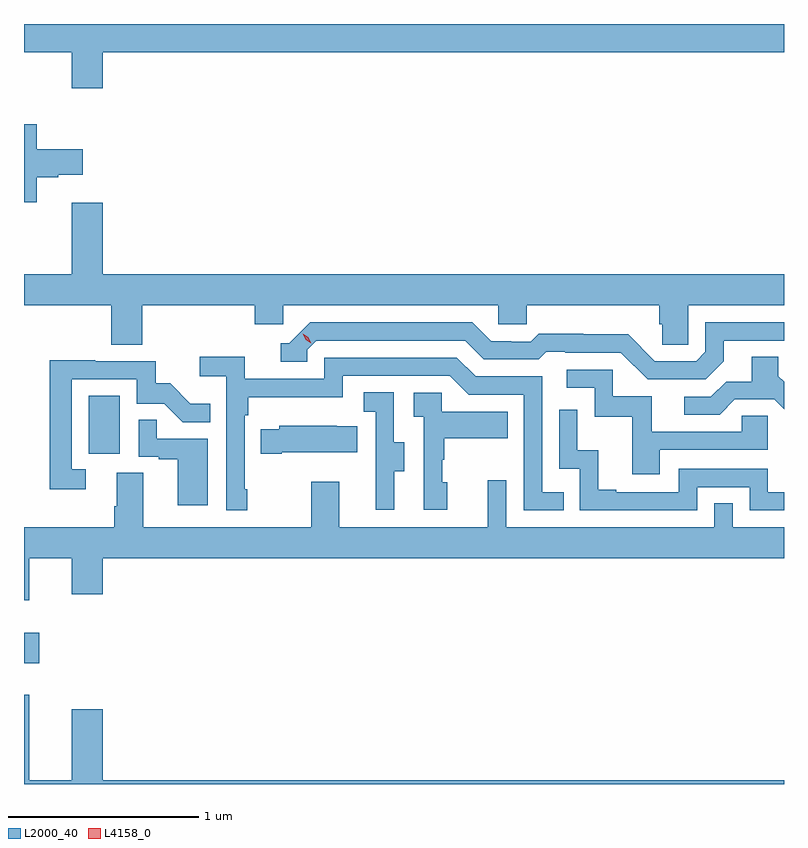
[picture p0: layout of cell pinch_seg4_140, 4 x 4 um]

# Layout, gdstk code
import gdstk
lib = gdstk.Library(unit=1e-6, precision=1e-09)
def R(c, l, rs):  # rectangles x0, y0, x1, y1
    for r in rs: c.add(gdstk.rectangle(r[:2], r[2:], *l))
def P(c, l, *ps):  # polygons
    for p in ps: c.add(gdstk.Polygon(p, *l))
L2000_40 = (2000, 40)
L4158_0 = (4158, 0)

pinch_seg4_140 = lib.new_cell('pinch_seg4_140')
R(pinch_seg4_140, L2000_40, [(1123.797,805.592,1123.876,805.753), (1124.138,806.694,1124.302,807.001)])
P(pinch_seg4_140, L2000_40, [(1124.212,808.808),(1127.797,808.808),(1127.797,808.957),(1123.797,808.957),(1123.797,808.808),(1124.048,808.808),(1124.048,808.62),(1124.212,808.62)],
  [(1123.864,808.151),(1123.977,808.151),(1123.977,808.163),(1124.107,808.163),(1124.107,808.298),(1123.864,808.298),(1123.864,808.429),(1123.797,808.429),(1123.797,808.019),(1123.864,808.019)],
  [(1124.42,807.476),(1125.011,807.476),(1125.011,807.378),(1125.162,807.378),(1125.162,807.476),(1126.293,807.476),(1126.293,807.378),(1126.443,807.378),(1126.443,807.476),(1127.141,807.476),(1127.141,807.378),(1127.155,807.378),(1127.155,807.268),(1127.292,807.268),(1127.292,807.476),(1127.797,807.476),(1127.797,807.64),(1124.212,807.64),(1124.212,808.015),(1124.048,808.015),(1124.048,807.64),(1123.797,807.64),(1123.797,807.476),(1124.255,807.476),(1124.255,807.268),(1124.42,807.268)],
  [(1127.479,807.181),(1127.479,807.291),(1127.797,807.291),(1127.797,807.387),(1127.382,807.387),(1127.382,807.231),(1127.334,807.183),(1127.118,807.183),(1126.976,807.325),(1126.74,807.325),(1126.74,807.328),(1126.507,807.328),(1126.465,807.285),(1126.362,807.285),(1126.362,807.288),(1126.255,807.288),(1126.156,807.387),(1125.303,807.387),(1125.192,807.276),(1125.149,807.276),(1125.149,807.18),(1125.288,807.18),(1125.288,807.243),(1125.336,807.291),(1126.119,807.291),(1126.218,807.192),(1126.507,807.192),(1126.546,807.231),(1126.645,807.231),(1126.645,807.228),(1126.938,807.228),(1127.079,807.087),(1127.385,807.087)],
  [(1124.971,806.509),(1124.958,806.509),(1124.958,806.897),(1124.978,806.897),(1124.978,806.993),(1125.474,806.993),(1125.474,807.105),(1126.038,807.105),(1126.137,807.006),(1126.428,807.006),(1126.428,806.397),(1126.637,806.397),(1126.637,806.493),(1126.524,806.493),(1126.524,807.102),(1126.174,807.102),(1126.075,807.201),(1125.378,807.201),(1125.378,807.09),(1124.96,807.09),(1124.96,807.206),(1124.721,807.206),(1124.721,807.104),(1124.862,807.104),(1124.862,806.397),(1124.971,806.397)],
  [(1127.539,806.982),(1127.745,806.982),(1127.797,806.93),(1127.797,807.074),(1127.767,807.104),(1127.767,807.206),(1127.627,807.206),(1127.627,807.074),(1127.492,807.074),(1127.412,806.994),(1127.271,806.994),(1127.271,806.901),(1127.458,806.901)],
  [(1124.122,806.613),(1124.049,806.613),(1124.049,807.087),(1124.391,807.087),(1124.391,806.958),(1124.535,806.958),(1124.633,806.86),(1124.777,806.86),(1124.777,806.959),(1124.673,806.959),(1124.566,807.066),(1124.49,807.066),(1124.49,807.183),(1124.171,807.183),(1124.171,807.188),(1123.933,807.188),(1123.933,806.508),(1124.122,806.508)],
  [(1127.143,806.715),(1127.712,806.715),(1127.712,806.895),(1127.575,806.895),(1127.575,806.811),(1127.101,806.811),(1127.101,806.997),(1126.896,806.997),(1126.896,807.138),(1126.653,807.138),(1126.653,807.042),(1126.8,807.042),(1126.8,806.889),(1126.999,806.889),(1126.999,806.586),(1127.143,806.586)],
  [(1125.745,806.602),(1125.799,806.602),(1125.799,806.757),(1125.744,806.757),(1125.744,807.02),(1125.585,807.02),(1125.585,806.917),(1125.648,806.917),(1125.648,806.613),(1125.647,806.613),(1125.647,806.4),(1125.745,806.4)],
  [(1126.024,806.544),(1125.999,806.544),(1125.999,806.663),(1126.009,806.663),(1126.009,806.777),(1126.343,806.777),(1126.343,806.917),(1125.996,806.917),(1125.996,807.015),(1125.849,807.015),(1125.849,806.891),(1125.9,806.891),(1125.9,806.4),(1126.024,806.4)],
  [(1127.34,806.52),(1127.616,806.52),(1127.616,806.397),(1127.797,806.397),(1127.797,806.493),(1127.712,806.493),(1127.712,806.616),(1127.244,806.616),(1127.244,806.493),(1126.915,806.493),(1126.915,806.506),(1126.82,806.506),(1126.82,806.714),(1126.71,806.714),(1126.71,806.926),(1126.614,806.926),(1126.614,806.616),(1126.722,806.616),(1126.722,806.397),(1127.34,806.397)],
  [(1124.764,806.775),(1124.495,806.775),(1124.495,806.873),(1124.4,806.873),(1124.4,806.679),(1124.507,806.679),(1124.507,806.667),(1124.606,806.667),(1124.606,806.424),(1124.764,806.424)],
  [(1125.154,806.702),(1125.551,806.702),(1125.551,806.839),(1125.443,806.839),(1125.443,806.842),(1125.141,806.842),(1125.141,806.824),(1125.043,806.824),(1125.043,806.695),(1125.154,806.695)],
  [(1123.825,806.144),(1124.048,806.144),(1124.048,805.956),(1124.212,805.956),(1124.212,806.144),(1127.797,806.144),(1127.797,806.308),(1127.526,806.308),(1127.526,806.435),(1127.43,806.435),(1127.43,806.308),(1126.335,806.308),(1126.335,806.557),(1126.238,806.557),(1126.238,806.308),(1125.457,806.308),(1125.457,806.548),(1125.31,806.548),(1125.31,806.308),(1124.425,806.308),(1124.425,806.594),(1124.285,806.594),(1124.285,806.42),(1124.273,806.42),(1124.273,806.308),(1123.797,806.308),(1123.797,805.923),(1123.825,805.923)],
  [(1127.797,804.976),(1124.212,804.976),(1124.212,805.351),(1124.048,805.351),(1124.048,804.976),(1123.825,804.976),(1123.825,805.426),(1123.797,805.426),(1123.797,804.957),(1127.797,804.957)])
P(pinch_seg4_140, L4158_0, [(1125.31,807.276),(1125.279,807.295),(1125.264,807.327),(1125.264,807.328),(1125.264,807.328),(1125.294,807.308),(1125.31,807.276),(1125.31,807.276)])

lib.write_gds('pinch_seg4_140.gds')
